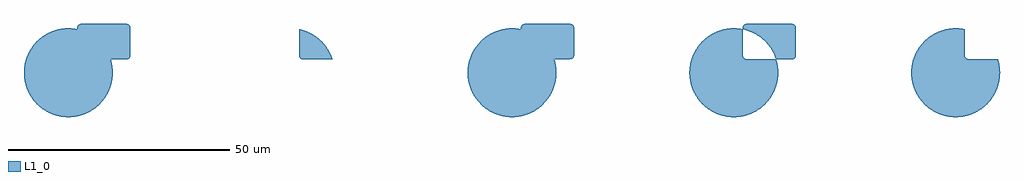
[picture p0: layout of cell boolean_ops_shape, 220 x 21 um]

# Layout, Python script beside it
# This example shows how to use Boolean operations on Boundary elements

import ipkiss3.all as i3
import matplotlib.pyplot as plt

#1. Define two elements
circle = i3.Circle(layer=i3.Layer(1), center=(0.0, 0.0), radius=10.0)
rectangle = i3.RoundedRectangle(layer=i3.Layer(1), center=(8.0, 7.0), box_size=(12.0, 8.0), radius=1.0)

#2. Boolean operations between two shapes
# AND, OR, XOR and NOT are supported
# Each operation returns a *list* of Boundary elements, so make sure to process them further as a list
elems_and = circle & rectangle
elems_or = circle | rectangle
elems_xor = circle ^ rectangle
elems_not = circle - rectangle

#3. make a layout with the elements so we can visualize them and save to GDSII
layout_original = i3.LayoutCell(name="original").Layout(elements=([circle, rectangle]+elems_and))
layout_and = i3.LayoutCell(name="AND").Layout(elements=elems_and)
layout_or = i3.LayoutCell(name="OR").Layout(elements=elems_or)
layout_xor = i3.LayoutCell(name="XOR").Layout(elements=elems_xor)
layout_not = i3.LayoutCell(name="NOT").Layout(elements=elems_not)

layout=i3.LayoutCell(name="boolean_ops_shape").Layout(elements=[
    i3.SRef(layout_original, (0.0, 0.0)),
    i3.SRef(layout_and, (50.0, 0.0)),
    i3.SRef(layout_or, (100.0, 0.0)),
    i3.SRef(layout_xor, (150.0, 0.0)),
    i3.SRef(layout_not, (200.0, 0.0))
])

#4. Write to GDSII and visualize
layout.write_gdsii("boolean_ops_boundaries.gds")
layout.visualize()

#5. Try boolean between elements on different layers:
rectangle2 = i3.RoundedRectangle(layer=i3.Layer(2), center=(8.0, 7.0), box_size=(12.0, 8.0), radius=1.0)
elems_and_2 = circle & rectangle2
print("Result of boolean between elements on different layers is: {}".format(elems_and_2))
